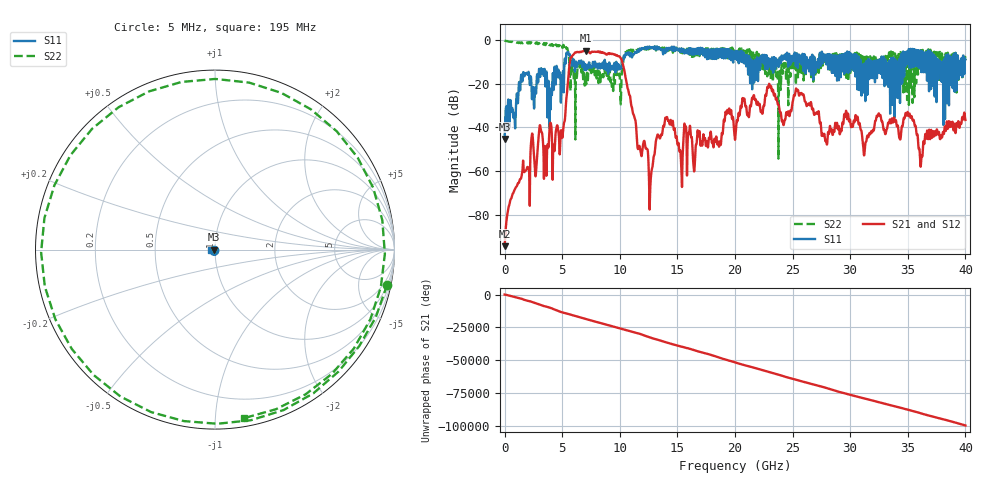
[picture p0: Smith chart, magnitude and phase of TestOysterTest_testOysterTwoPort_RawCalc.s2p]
! File created by SignalIntegrity v1.1.1: Signal and Power Integrity Tools
! https://github.com/TeledyneLeCroy/SignalIntegrity
# MHz MA S R 50.0
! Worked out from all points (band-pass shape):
!   8000 points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, 5 MHz to 40 GHz, reference 50 ohm
!   highest |S21| = -4.82 dB at 7.04 GHz (marker M1); lowest = -94.4 dB at 5 MHz (marker M2)
!   |S21| within 3 dB of the highest: 5.817 GHz to 10.03 GHz (4.21 GHz wide, 53.1 % of centre)
!   lowest |S11| = -45.3 dB at 5 MHz (marker M3), VSWR 1.01, Z = 49.5 + j0.00617 ohm
!   |S11| at or under -10 dB: start of sweep to 5.196 GHz; 6.847 GHz to 7.678 GHz (831.1 MHz wide, 11.4 % of centre); 8.723 GHz to 9.696 GHz (972.9 MHz wide, 10.6 % of centre)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
!   |S22| runs from -54.3 to -0.2 dB; largest |S21 - S12| = 9.2e-06
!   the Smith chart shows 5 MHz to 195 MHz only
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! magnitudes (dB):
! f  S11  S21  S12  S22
! 5 MHz  -45.3  -94.4  -94.4  -0.2
! 1.775 GHz  -15.8  -60.1  -60.1  -1.2
! 3.115 GHz  -15.1  -40.0  -40.0  -1.6
! 4.92 GHz  -19.9  -41.4  -41.4  -2.3
! 5.745 GHz  -11.7  -8.1  -8.1  -17.3
! 6.675 GHz  -9.5  -5.4  -5.4  -14.8
! 7.04 GHz  -12.3  -4.8  -4.8  -17.6
! 10.1 GHz  -13.0  -8.4  -8.4  -28.3
! 12.68 GHz  -3.6  -64.9  -64.9  -3.9
! 13.34 GHz  -3.9  -43.6  -43.6  -4.2
! 14.44 GHz  -4.4  -36.7  -36.7  -4.8
! 15.31 GHz  -4.3  -54.8  -54.8  -4.8
! 20 GHz  -8.5  -45.7  -45.7  -7.1
! 22.97 GHz  -11.9  -20.0  -20.0  -15.8
! 24.2 GHz  -7.2  -38.8  -38.8  -10.7
! 25.32 GHz  -8.5  -22.3  -22.3  -13.5
! 26.67 GHz  -7.7  -31.1  -31.1  -8.3
! 27.84 GHz  -6.8  -46.3  -46.3  -6.9
! 33.34 GHz  -13.4  -38.0  -38.0  -8.1
! 35.15 GHz  -11.0  -33.7  -33.7  -8.5
! 36.12 GHz  -6.1  -57.8  -57.8  -4.6
! 40 GHz  -8.8  -36.6  -36.6  -8.0
